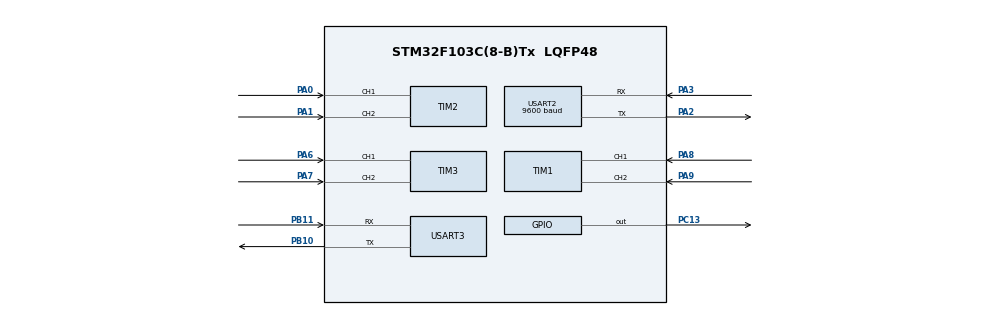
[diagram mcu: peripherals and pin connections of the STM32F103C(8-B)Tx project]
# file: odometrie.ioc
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Dma.Request0=USART3_TX
Dma.Request1=USART2_TX
Dma.USART2_TX.1.Direction=DMA_MEMORY_TO_PERIPH
Dma.USART2_TX.1.Instance=DMA1_Channel7
Dma.USART2_TX.1.MemDataAlignment=DMA_MDATAALIGN_BYTE
Dma.USART2_TX.1.MemInc=DMA_MINC_ENABLE
Dma.USART2_TX.1.Mode=DMA_NORMAL
Dma.USART2_TX.1.PeriphDataAlignment=DMA_PDATAALIGN_BYTE
Dma.USART2_TX.1.PeriphInc=DMA_PINC_DISABLE
Dma.USART2_TX.1.Priority=DMA_PRIORITY_LOW
Dma.USART3_TX.0.Direction=DMA_MEMORY_TO_PERIPH
Dma.USART3_TX.0.Instance=DMA1_Channel2
Dma.USART3_TX.0.MemDataAlignment=DMA_MDATAALIGN_BYTE
Dma.USART3_TX.0.MemInc=DMA_MINC_ENABLE
Dma.USART3_TX.0.Mode=DMA_NORMAL
Dma.USART3_TX.0.PeriphDataAlignment=DMA_PDATAALIGN_BYTE
Dma.USART3_TX.0.PeriphInc=DMA_PINC_DISABLE
Dma.USART3_TX.0.Priority=DMA_PRIORITY_LOW
Mcu.Family=STM32F1
Mcu.Name=STM32F103C(8-B)Tx
Mcu.Package=LQFP48
NVIC.DMA1_Channel2_IRQn=true\:0\:0\:false\:false\:true\:false\:true\:true
NVIC.DMA1_Channel7_IRQn=true\:0\:0\:false\:false\:true\:false\:true\:true
NVIC.PriorityGroup=NVIC_PRIORITYGROUP_4
NVIC.TIM4_IRQn=true\:0\:0\:false\:false\:true\:true\:true\:true
NVIC.USART2_IRQn=true\:0\:0\:false\:false\:true\:true\:true\:true
NVIC.USART3_IRQn=true\:0\:0\:false\:false\:true\:true\:true\:true
PA0-WKUP.Signal=S_TIM2_CH1_ETR
PA1.Signal=S_TIM2_CH2
PA2.Mode=Asynchronous
PA2.Signal=USART2_TX
PA3.Mode=Asynchronous
PA3.Signal=USART2_RX
PA6.Signal=S_TIM3_CH1
PA7.Signal=S_TIM3_CH2
PA8.Signal=S_TIM1_CH1
PA9.Signal=S_TIM1_CH2
PB10.Mode=Asynchronous
PB10.Signal=USART3_TX
PB11.Mode=Asynchronous
PB11.Signal=USART3_RX
PC13-TAMPER-RTC.Signal=GPIO_Output
PC14-OSC32_IN.Mode=LSE-External-Oscillator
PC14-OSC32_IN.Signal=RCC_OSC32_IN
PC15-OSC32_OUT.Mode=LSE-External-Oscillator
PC15-OSC32_OUT.Signal=RCC_OSC32_OUT
PD0-OSC_IN.Mode=HSE-External-Oscillator
PD0-OSC_IN.Signal=RCC_OSC_IN
PD1-OSC_OUT.Mode=HSE-External-Oscillator
PD1-OSC_OUT.Signal=RCC_OSC_OUT
ProjectManager.HeapSize=0x200
ProjectManager.StackSize=0x400
ProjectManager.TargetToolchain=STM32CubeIDE
RCC.APB1Freq_Value=8000000
RCC.APB2Freq_Value=8000000
SH.S_TIM1_CH1.0=TIM1_CH1,Encoder_Interface
SH.S_TIM1_CH2.0=TIM1_CH2,Encoder_Interface
SH.S_TIM2_CH1_ETR.0=TIM2_CH1,Encoder_Interface
SH.S_TIM2_CH2.0=TIM2_CH2,Encoder_Interface
SH.S_TIM3_CH1.0=TIM3_CH1,Encoder_Interface
SH.S_TIM3_CH2.0=TIM3_CH2,Encoder_Interface
TIM1.EncoderMode=TIM_ENCODERMODE_TI12
TIM2.EncoderMode=TIM_ENCODERMODE_TI12
TIM3.EncoderMode=TIM_ENCODERMODE_TI12
TIM4.Prescaler=10
USART2.BaudRate=9600
USART2.VirtualMode=VM_ASYNC
USART3.VirtualMode=VM_ASYNC
VP_TIM4_VS_ClockSourceINT.Mode=Internal
board=custom

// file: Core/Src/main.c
/* USER CODE BEGIN Header */
/**
 ******************************************************************************
 * @file           : main.c
 * @brief          : Main program body
 ******************************************************************************
 * @attention
 *
 * Copyright (c) 2024 STMicroelectronics.
 * All rights reserved.
 *
 * This software is licensed under terms that can be found in the LICENSE file
 * in the root directory of this software component.
 * If no LICENSE file comes with this software, it is provided AS-IS.
 *
 ******************************************************************************
 */
/* USER CODE END Header */
#include "main.h"

/* USER CODE BEGIN Includes */
#include <math.h>
#include <stdio.h>
#include <string.h>
#include <stdlib.h>
#include <stdbool.h>
/* USER CODE END Includes */

/* USER CODE BEGIN PM */
#define MAX_BUFFER_SIZE 25
#define L 29.7
#define B 17.5
#define R 2.5
#define N 8192
#define CM_PER_TICK (2.0 * M_PI * R) / N
/* USER CODE END PM */

TIM_HandleTypeDef htim1;
TIM_HandleTypeDef htim2;
TIM_HandleTypeDef htim3;
TIM_HandleTypeDef htim4;

UART_HandleTypeDef huart2;
UART_HandleTypeDef huart3;
DMA_HandleTypeDef hdma_usart2_tx;
DMA_HandleTypeDef hdma_usart3_tx;

void SystemClock_Config(void);
static void MX_GPIO_Init(void);
static void MX_DMA_Init(void);
static void MX_TIM1_Init(void);
static void MX_TIM2_Init(void);
static void MX_TIM3_Init(void);
static void MX_TIM4_Init(void);
static void MX_USART3_UART_Init(void);
static void MX_USART2_UART_Init(void);

/* USER CODE BEGIN 0 */

double rad2deg(double rad) {
	return (rad * (180.0 / M_PI)) - ((int) (rad * (180.0 / M_PI) / 360) * 360);
}

char msg[100];

//ODOMETRY STRUCT
typedef struct{
	int position, old_position;
} Odometer;

void Odometer_Init(Odometer *odo){
	odo->position = 0;
	odo->old_position = 0;
}

Odometer right_encoder, left_encoder, back_encoder;

//Odometry aux variables
double current_x = 0, current_y = 0, current_h = 0, current_h_rad = 0;
volatile int dn1 = 0, dn2 = 0, dn3 = 0;
double dx = 0, dy = 0, dtheta = 0, theta = 0;
void odometry() {
	dn1 = left_encoder.position - left_encoder.old_position;
	dn2 = right_encoder.position - right_encoder.old_position;
	dn3 = back_encoder.position - back_encoder.old_position;

	dtheta = CM_PER_TICK * ((dn2 - dn1) / L);
	dx = CM_PER_TICK * ((dn1 + dn2) / 2.0);
	dy = CM_PER_TICK * (dn3 + ((dn2 - dn1) / 2.0));

	theta += (dtheta / 2.0);
	current_x += dx * cos(theta) - dy * sin(theta);
	current_y += dx * sin(theta) + dy * cos(theta);
	theta += (dtheta / 2.0);
//	current_h_rad += dtheta;
	current_h = rad2deg(theta);
}

//DATA TRANSMISSION VARIABLES
char tx_buffer[MAX_BUFFER_SIZE];
int chars_written = 0;
void process_data() {
	chars_written = snprintf(tx_buffer, MAX_BUFFER_SIZE, "%+.2f,%+.2f,%+.2f\n",
			current_x, current_y, current_h);
	if (chars_written < 0 || chars_written > MAX_BUFFER_SIZE) {
		/*TODO: handle error*/
	} else {
		for (int i = chars_written; i < MAX_BUFFER_SIZE; i++) {
			tx_buffer[i] = '\n';
		}
	}
	tx_buffer[MAX_BUFFER_SIZE - 1] = '\0';
}

void HAL_UART_TxCpltCallback(UART_HandleTypeDef *huart) {
	if (huart == &huart3) {
//      only for debugging through arduino in reset CHANGE BAUD RATE BACK TO 9600
//		sprintf(msg, "DMA Callback ");
//		HAL_UART_Transmit(&huart2, (uint8_t*) msg, sizeof(msg), HAL_MAX_DELAY);
//		HAL_UART_Transmit(&huart2, (uint8_t*) tx_buffer, 25, HAL_MAX_DELAY);
	}

}

void HAL_TIM_PeriodElapsedCallback(TIM_HandleTypeDef *htim) {
	if (htim == &htim4) {

		// RIGHT
		right_encoder.position = __HAL_TIM_GET_COUNTER(&htim1);
		if (!__HAL_TIM_IS_TIM_COUNTING_DOWN(&htim1)) {
			if (right_encoder.position < right_encoder.old_position) {
				right_encoder.old_position = right_encoder.position;
			}
		} else {
			if (right_encoder.position > right_encoder.old_position) {
				right_encoder.old_position = right_encoder.position;
			}
		}

		//LEFT
		left_encoder.position = __HAL_TIM_GET_COUNTER(&htim2);
		if (!__HAL_TIM_IS_TIM_COUNTING_DOWN(&htim2)) {
			if (left_encoder.position < left_encoder.old_position) {
				left_encoder.old_position = left_encoder.position;
			}
		} else {
			if (left_encoder.position > left_encoder.old_position) {
				left_encoder.old_position = left_encoder.position;
			}
		}

		//BACK
		back_encoder.position = __HAL_TIM_GET_COUNTER(&htim3);
		if (!__HAL_TIM_IS_TIM_COUNTING_DOWN(&htim3)) {
			if (back_encoder.position < back_encoder.old_position) {
				back_encoder.old_position = back_encoder.position;
			}
		} else {
			if (back_encoder.position > back_encoder.old_position) {
				back_encoder.old_position = back_encoder.position;
			}
		}

		//compute position
		odometry();

		//update
		right_encoder.old_position = right_encoder.position;
		left_encoder.old_position = left_encoder.position;
		back_encoder.old_position = back_encoder.position;

		process_data();
		//ODOMETRY DATA FOR MAIN MCU
		HAL_UART_Transmit_DMA(&huart3, (uint8_t *) tx_buffer, 25);
		//ODOMETRY DATA FOR BT MODULE
		HAL_UART_Transmit_DMA(&huart2, (uint8_t *) tx_buffer, 25);
		HAL_GPIO_TogglePin(GPIOC, GPIO_PIN_13);

		//ODOMETRY DATA FOR ESP32
	}
}

/*TODO: Send odometry data to the ESP32*/

/* USER CODE END 0 */

int main(void)
{

  /* MCU Configuration--------------------------------------------------------*/

  /* Reset of all peripherals, Initializes the Flash interface and the Systick. */
  HAL_Init();

  /* Configure the system clock */
  SystemClock_Config();

  /* Initialize all configured peripherals */
  MX_GPIO_Init();
  MX_DMA_Init();
  MX_TIM1_Init();
  MX_TIM2_Init();
  MX_TIM3_Init();
  MX_TIM4_Init();
  MX_USART3_UART_Init();
  MX_USART2_UART_Init();
  /* USER CODE BEGIN 2 */
  HAL_TIM_Base_Start_IT(&htim4);

  Odometer_Init(&right_encoder);
  Odometer_Init(&left_encoder);
  Odometer_Init(&back_encoder);

  process_data();
  HAL_GPIO_WritePin(GPIOC, GPIO_PIN_13, 0);
  HAL_UART_Transmit_DMA(&huart3, (uint8_t*) tx_buffer, 25);
  /* USER CODE END 2 */

  /* Infinite loop */
	while (1) {

	}
}

void SystemClock_Config(void)
{
  RCC_OscInitTypeDef RCC_OscInitStruct = {0};
  RCC_ClkInitTypeDef RCC_ClkInitStruct = {0};

  /** Initializes the RCC Oscillators according to the specified parameters
  * in the RCC_OscInitTypeDef structure.
  */
  RCC_OscInitStruct.OscillatorType = RCC_OSCILLATORTYPE_HSI;
  RCC_OscInitStruct.HSIState = RCC_HSI_ON;
  RCC_OscInitStruct.HSICalibrationValue = RCC_HSICALIBRATION_DEFAULT;
  RCC_OscInitStruct.PLL.PLLState = RCC_PLL_NONE;
  if (HAL_RCC_OscConfig(&RCC_OscInitStruct) != HAL_OK)
  {
    Error_Handler();
  }

  /** Initializes the CPU, AHB and APB buses clocks
  */
  RCC_ClkInitStruct.ClockType = RCC_CLOCKTYPE_HCLK|RCC_CLOCKTYPE_SYSCLK
                              |RCC_CLOCKTYPE_PCLK1|RCC_CLOCKTYPE_PCLK2;
  RCC_ClkInitStruct.SYSCLKSource = RCC_SYSCLKSOURCE_HSI;
  RCC_ClkInitStruct.AHBCLKDivider = RCC_SYSCLK_DIV1;
  RCC_ClkInitStruct.APB1CLKDivider = RCC_HCLK_DIV1;
  RCC_ClkInitStruct.APB2CLKDivider = RCC_HCLK_DIV1;

  if (HAL_RCC_ClockConfig(&RCC_ClkInitStruct, FLASH_LATENCY_0) != HAL_OK)
  {
    Error_Handler();
  }
}

static void MX_TIM1_Init(void)
{

  TIM_Encoder_InitTypeDef sConfig = {0};
  TIM_MasterConfigTypeDef sMasterConfig = {0};

  htim1.Instance = TIM1;
  htim1.Init.Prescaler = 0;
  htim1.Init.CounterMode = TIM_COUNTERMODE_UP;
  htim1.Init.Period = 65535;
  htim1.Init.ClockDivision = TIM_CLOCKDIVISION_DIV1;
  htim1.Init.RepetitionCounter = 0;
  htim1.Init.AutoReloadPreload = TIM_AUTORELOAD_PRELOAD_DISABLE;
  sConfig.EncoderMode = TIM_ENCODERMODE_TI12;
  sConfig.IC1Polarity = TIM_ICPOLARITY_RISING;
  sConfig.IC1Selection = TIM_ICSELECTION_DIRECTTI;
  sConfig.IC1Prescaler = TIM_ICPSC_DIV1;
  sConfig.IC1Filter = 0;
  sConfig.IC2Polarity = TIM_ICPOLARITY_RISING;
  sConfig.IC2Selection = TIM_ICSELECTION_DIRECTTI;
  sConfig.IC2Prescaler = TIM_ICPSC_DIV1;
  sConfig.IC2Filter = 0;
  if (HAL_TIM_Encoder_Init(&htim1, &sConfig) != HAL_OK)
  {
    Error_Handler();
  }
  sMasterConfig.MasterOutputTrigger = TIM_TRGO_RESET;
  sMasterConfig.MasterSlaveMode = TIM_MASTERSLAVEMODE_DISABLE;
  if (HAL_TIMEx_MasterConfigSynchronization(&htim1, &sMasterConfig) != HAL_OK)
  {
    Error_Handler();
  }
  /* USER CODE BEGIN TIM1_Init 2 */
	HAL_TIM_Encoder_Start(&htim1, TIM_CHANNEL_ALL);
  /* USER CODE END TIM1_Init 2 */

}

static void MX_TIM2_Init(void)
{

  TIM_Encoder_InitTypeDef sConfig = {0};
  TIM_MasterConfigTypeDef sMasterConfig = {0};

  htim2.Instance = TIM2;
  htim2.Init.Prescaler = 0;
  htim2.Init.CounterMode = TIM_COUNTERMODE_UP;
  htim2.Init.Period = 65535;
  htim2.Init.ClockDivision = TIM_CLOCKDIVISION_DIV1;
  htim2.Init.AutoReloadPreload = TIM_AUTORELOAD_PRELOAD_DISABLE;
  sConfig.EncoderMode = TIM_ENCODERMODE_TI12;
  sConfig.IC1Polarity = TIM_ICPOLARITY_RISING;
  sConfig.IC1Selection = TIM_ICSELECTION_DIRECTTI;
  sConfig.IC1Prescaler = TIM_ICPSC_DIV1;
  sConfig.IC1Filter = 0;
  sConfig.IC2Polarity = TIM_ICPOLARITY_RISING;
  sConfig.IC2Selection = TIM_ICSELECTION_DIRECTTI;
  sConfig.IC2Prescaler = TIM_ICPSC_DIV1;
  sConfig.IC2Filter = 0;
  if (HAL_TIM_Encoder_Init(&htim2, &sConfig) != HAL_OK)
  {
    Error_Handler();
  }
  sMasterConfig.MasterOutputTrigger = TIM_TRGO_RESET;
  sMasterConfig.MasterSlaveMode = TIM_MASTERSLAVEMODE_DISABLE;
  if (HAL_TIMEx_MasterConfigSynchronization(&htim2, &sMasterConfig) != HAL_OK)
  {
    Error_Handler();
  }
  /* USER CODE BEGIN TIM2_Init 2 */
	HAL_TIM_Encoder_Start(&htim2, TIM_CHANNEL_ALL);
  /* USER CODE END TIM2_Init 2 */

}

static void MX_TIM3_Init(void)
{

  TIM_Encoder_InitTypeDef sConfig = {0};
  TIM_MasterConfigTypeDef sMasterConfig = {0};

  htim3.Instance = TIM3;
  htim3.Init.Prescaler = 0;
  htim3.Init.CounterMode = TIM_COUNTERMODE_UP;
  htim3.Init.Period = 65535;
  htim3.Init.ClockDivision = TIM_CLOCKDIVISION_DIV1;
  htim3.Init.AutoReloadPreload = TIM_AUTORELOAD_PRELOAD_DISABLE;
  sConfig.EncoderMode = TIM_ENCODERMODE_TI12;
  sConfig.IC1Polarity = TIM_ICPOLARITY_RISING;
  sConfig.IC1Selection = TIM_ICSELECTION_DIRECTTI;
  sConfig.IC1Prescaler = TIM_ICPSC_DIV1;
  sConfig.IC1Filter = 0;
  sConfig.IC2Polarity = TIM_ICPOLARITY_RISING;
  sConfig.IC2Selection = TIM_ICSELECTION_DIRECTTI;
  sConfig.IC2Prescaler = TIM_ICPSC_DIV1;
  sConfig.IC2Filter = 0;
  if (HAL_TIM_Encoder_Init(&htim3, &sConfig) != HAL_OK)
  {
    Error_Handler();
  }
  sMasterConfig.MasterOutputTrigger = TIM_TRGO_RESET;
  sMasterConfig.MasterSlaveMode = TIM_MASTERSLAVEMODE_DISABLE;
  if (HAL_TIMEx_MasterConfigSynchronization(&htim3, &sMasterConfig) != HAL_OK)
  {
    Error_Handler();
  }
  /* USER CODE BEGIN TIM3_Init 2 */
	HAL_TIM_Encoder_Start(&htim3, TIM_CHANNEL_ALL);
  /* USER CODE END TIM3_Init 2 */

}

static void MX_TIM4_Init(void)
{

  TIM_ClockConfigTypeDef sClockSourceConfig = {0};
  TIM_MasterConfigTypeDef sMasterConfig = {0};

  htim4.Instance = TIM4;
  htim4.Init.Prescaler = 10;
  htim4.Init.CounterMode = TIM_COUNTERMODE_UP;
  htim4.Init.Period = 65535;
  htim4.Init.ClockDivision = TIM_CLOCKDIVISION_DIV1;
  htim4.Init.AutoReloadPreload = TIM_AUTORELOAD_PRELOAD_DISABLE;
  if (HAL_TIM_Base_Init(&htim4) != HAL_OK)
  {
    Error_Handler();
  }
  sClockSourceConfig.ClockSource = TIM_CLOCKSOURCE_INTERNAL;
  if (HAL_TIM_ConfigClockSource(&htim4, &sClockSourceConfig) != HAL_OK)
  {
    Error_Handler();
  }
  sMasterConfig.MasterOutputTrigger = TIM_TRGO_RESET;
  sMasterConfig.MasterSlaveMode = TIM_MASTERSLAVEMODE_DISABLE;
  if (HAL_TIMEx_MasterConfigSynchronization(&htim4, &sMasterConfig) != HAL_OK)
  {
    Error_Handler();
  }

}

static void MX_USART2_UART_Init(void)
{

  huart2.Instance = USART2;
  huart2.Init.BaudRate = 9600;
  huart2.Init.WordLength = UART_WORDLENGTH_8B;
  huart2.Init.StopBits = UART_STOPBITS_1;
  huart2.Init.Parity = UART_PARITY_NONE;
  huart2.Init.Mode = UART_MODE_TX_RX;
  huart2.Init.HwFlowCtl = UART_HWCONTROL_NONE;
  huart2.Init.OverSampling = UART_OVERSAMPLING_16;
  if (HAL_UART_Init(&huart2) != HAL_OK)
  {
    Error_Handler();
  }

}

static void MX_USART3_UART_Init(void)
{

  huart3.Instance = USART3;
  huart3.Init.BaudRate = 115200;
  huart3.Init.WordLength = UART_WORDLENGTH_8B;
  huart3.Init.StopBits = UART_STOPBITS_1;
  huart3.Init.Parity = UART_PARITY_NONE;
  huart3.Init.Mode = UART_MODE_TX_RX;
  huart3.Init.HwFlowCtl = UART_HWCONTROL_NONE;
  huart3.Init.OverSampling = UART_OVERSAMPLING_16;
  if (HAL_UART_Init(&huart3) != HAL_OK)
  {
    Error_Handler();
  }

}

static void MX_DMA_Init(void)
{

  /* DMA controller clock enable */
  __HAL_RCC_DMA1_CLK_ENABLE();

  /* DMA interrupt init */
  /* DMA1_Channel2_IRQn interrupt configuration */
  HAL_NVIC_SetPriority(DMA1_Channel2_IRQn, 0, 0);
  HAL_NVIC_EnableIRQ(DMA1_Channel2_IRQn);
  /* DMA1_Channel7_IRQn interrupt configuration */
  HAL_NVIC_SetPriority(DMA1_Channel7_IRQn, 0, 0);
  HAL_NVIC_EnableIRQ(DMA1_Channel7_IRQn);

}

static void MX_GPIO_Init(void)
{
  GPIO_InitTypeDef GPIO_InitStruct = {0};

  /* GPIO Ports Clock Enable */
  __HAL_RCC_GPIOC_CLK_ENABLE();
  __HAL_RCC_GPIOD_CLK_ENABLE();
  __HAL_RCC_GPIOA_CLK_ENABLE();
  __HAL_RCC_GPIOB_CLK_ENABLE();

  /*Configure GPIO pin Output Level */
  HAL_GPIO_WritePin(GPIOC, GPIO_PIN_13, GPIO_PIN_RESET);

  /*Configure GPIO pin : PC13 */
  GPIO_InitStruct.Pin = GPIO_PIN_13;
  GPIO_InitStruct.Mode = GPIO_MODE_OUTPUT_PP;
  GPIO_InitStruct.Pull = GPIO_NOPULL;
  GPIO_InitStruct.Speed = GPIO_SPEED_FREQ_LOW;
  HAL_GPIO_Init(GPIOC, &GPIO_InitStruct);

}

void Error_Handler(void)
{
	__disable_irq();
	while (1) {
	}
}
